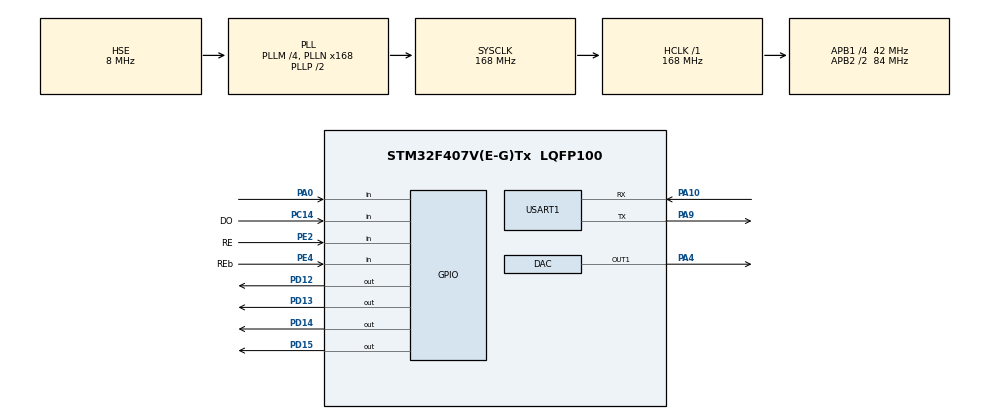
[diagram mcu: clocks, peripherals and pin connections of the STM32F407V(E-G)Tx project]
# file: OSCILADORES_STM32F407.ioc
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Mcu.Family=STM32F4
Mcu.Name=STM32F407V(E-G)Tx
Mcu.Package=LQFP100
NVIC.PriorityGroup=NVIC_PRIORITYGROUP_0
NVIC.TIM2_IRQn=true\:0\:0\:false\:false\:true\:true\:true
NVIC.USART1_IRQn=true\:0\:0\:false\:false\:true\:true\:true
PA0-WKUP.Signal=GPIO_Input
PA10.Mode=Asynchronous
PA10.Signal=USART1_RX
PA13.Mode=Serial_Wire
PA13.Signal=SYS_JTMS-SWDIO
PA14.Mode=Serial_Wire
PA14.Signal=SYS_JTCK-SWCLK
PA4.Signal=COMP_DAC1_group
PA9.Mode=Asynchronous
PA9.Signal=USART1_TX
PC14-OSC32_IN.GPIO_Label=DO
PC14-OSC32_IN.GPIO_PuPd=GPIO_PULLUP
PC14-OSC32_IN.Signal=GPIO_Input
PD12.Signal=GPIO_Output
PD13.Signal=GPIO_Output
PD14.Signal=GPIO_Output
PD15.Signal=GPIO_Output
PE2.GPIO_Label=RE
PE2.GPIO_PuPd=GPIO_PULLUP
PE2.Signal=GPIO_Input
PE4.GPIO_Label=REb
PE4.GPIO_PuPd=GPIO_PULLUP
PE4.Signal=GPIO_Input
PH0-OSC_IN.Mode=HSE-External-Oscillator
PH0-OSC_IN.Signal=RCC_OSC_IN
PH1-OSC_OUT.Mode=HSE-External-Oscillator
PH1-OSC_OUT.Signal=RCC_OSC_OUT
ProjectManager.HeapSize=0x200
ProjectManager.StackSize=0x400
ProjectManager.TargetToolchain=STM32CubeIDE
RCC.48MHZClocksFreq_Value=48000000
RCC.AHBFreq_Value=168000000
RCC.APB1CLKDivider=RCC_HCLK_DIV4
RCC.APB1Freq_Value=42000000
RCC.APB1TimFreq_Value=84000000
RCC.APB2CLKDivider=RCC_HCLK_DIV2
RCC.APB2Freq_Value=84000000
RCC.APB2TimFreq_Value=168000000
RCC.CortexFreq_Value=168000000
RCC.HCLKFreq_Value=168000000
RCC.HSE_VALUE=8000000
RCC.HSI_VALUE=16000000
RCC.LSE_VALUE=32768
RCC.PLLM=4
RCC.PLLN=168
RCC.PLLQ=7
RCC.PLLSourceVirtual=RCC_PLLSOURCE_HSE
RCC.SYSCLKFreq_VALUE=168000000
RCC.SYSCLKSource=RCC_SYSCLKSOURCE_PLLCLK
RCC.VCOOutputFreq_Value=336000000
SH.COMP_DAC1_group.0=DAC_OUT1,DAC_OUT1
TIM2.Period=16-1
TIM2.Prescaler=119-1
USART1.VirtualMode=VM_ASYNC
VP_TIM2_VS_ClockSourceINT.Mode=Internal
board=STM32F407G-DISC1

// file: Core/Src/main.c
/* USER CODE BEGIN Header */
/**
  ******************************************************************************
  * @file           : main.c
  * @brief          : Main program body
  ******************************************************************************
  * @attention
  *
  * <h2><center>&copy; Copyright (c) 2020 STMicroelectronics.
  * All rights reserved.</center></h2>
  *
  * This software component is licensed by ST under BSD 3-Clause license,
  * the "License"; You may not use this file except in compliance with the
  * License. You may obtain a copy of the License at:
  *                        opensource.org/licenses/BSD-3-Clause
  *
  ******************************************************************************
  */
/* USER CODE END Header */

#include "main.h"
#include "dac.h"
#include "tim.h"
#include "usart.h"
#include "gpio.h"

/* USER CODE BEGIN Includes */
#include "osc_dac_lfs.h"
/* USER CODE END Includes */

/* USER CODE BEGIN PD */
//#define NOTA_C1 24
/* USER CODE END PD */

/* USER CODE BEGIN PV */
//const unsigned long tabla_seno_vieja[] = {686,689,692,695,698,702,705,708,711,714,717,721,724,727,730,733,737,740,743,746,749,752,756,759,762,765,768,771,774,778,781,784,787,790,793,796,800,803,806,809,812,815,818,821,825,828,831,834,837,840,843,846,849,852,855,859,862,865,868,871,874,877,880,883,886,889,892,895,898,901,904,907,910,913,916,919,922,925,928,931,934,937,940,943,946,949,952,955,957,960,963,966,969,972,975,978,981,983,986,989,992,995,998,1000,1003,1006,1009,1012,1014,1017,1020,1023,1025,1028,1031,1034,1036,1039,1042,1045,1047,1050,1053,1055,1058,1061,1063,1066,1068,1071,1074,1076,1079,1081,1084,1087,1089,1092,1094,1097,1099,1102,1104,1107,1109,1112,1114,1117,1119,1122,1124,1126,1129,1131,1134,1136,1138,1141,1143,1145,1148,1150,1152,1155,1157,1159,1162,1164,1166,1168,1171,1173,1175,1177,1179,1182,1184,1186,1188,1190,1192,1194,1196,1199,1201,1203,1205,1207,1209,1211,1213,1215,1217,1219,1221,1223,1225,1227,1228,1230,1232,1234,1236,1238,1240,1242,1243,1245,1247,1249,1251,1252,1254,1256,1257,1259,1261,1263,1264,1266,1268,1269,1271,1272,1274,1276,1277,1279,1280,1282,1283,
//									1285,1286,1288,1289,1291,1292,1293,1295,1296,1298,1299,1300,1302,1303,1304,1306,1307,1308,1310,1311,1312,1313,1314,1316,1317,1318,1319,1320,1321,1323,1324,1325,1326,1327,1328,1329,1330,1331,1332,1333,1334,1335,1336,1337,1338,1338,1339,1340,1341,1342,1343,1343,1344,1345,1346,1346,1347,1348,1349,1349,1350,1351,1351,1352,1353,1353,1354,1354,1355,1355,1356,1356,1357,1357,1358,1358,1359,1359,1360,1360,1360,1361,1361,1361,1362,1362,1362,1363,1363,1363,1363,1364,1364,1364,1364,1364,1364,1365,1365,1365,1365,1365,1365,1365,1365,1365,1365,1365,1365,1365,1365,1365,1365,1365,1364,1364,1364,1364,1364,1364,1363,1363,1363,1363,1362,1362,1362,1361,1361,1361,1360,1360,1360,1359,1359,1358,1358,1357,1357,1357,1356,1355,1355,1354,1354,1353,1353,1352,1351,1351,1350,1349,1349,1348,1347,1347,1346,1345,1344,1344,1343,1342,1341,1340,1339,1339,1338,1337,1336,1335,1334,1333,1332,1331,1330,1329,1328,1327,1326,1325,1324,1323,1322,1321,1319,1318,1317,1316,1315,1314,1312,1311,1310,1309,1307,1306,1305,1303,1302,1301,1299,1298,1297,1295,1294,1292,1291,1290,1288,1287,1285,1284,1282,
//									1281,1279,1277,1276,1274,1273,1271,1270,1268,1266,1265,1263,1261,1260,1258,1256,1254,1253,1251,1249,1247,1246,1244,1242,1240,1238,1236,1235,1233,1231,1229,1227,1225,1223,1221,1219,1217,1215,1213,1211,1209,1207,1205,1203,1201,1199,1197,1195,1193,1191,1189,1186,1184,1182,1180,1178,1176,1173,1171,1169,1167,1164,1162,1160,1158,1155,1153,1151,1148,1146,1144,1141,1139,1137,1134,1132,1129,1127,1125,1122,1120,1117,1115,1112,1110,1107,1105,1102,1100,1097,1095,1092,1090,1087,1085,1082,1080,1077,1074,1072,1069,1066,1064,1061,1059,1056,1053,1051,1048,1045,1043,1040,1037,1034,1032,1029,1026,1023,1021,1018,1015,1012,1010,1007,1004,1001,998,995,993,990,987,984,981,978,976,973,970,967,964,961,958,955,952,949,947,944,941,938,935,932,929,926,923,920,917,914,911,908,905,902,899,896,893,890,887,884,881,878,875,872,869,865,862,859,856,853,850,847,844,841,838,835,832,828,825,822,819,816,813,810,807,803,800,797,794,791,788,785,782,778,775,772,769,766,763,759,756,753,750,747,744,740,737,734,731,728,725,721,718,715,712,709,706,702,699,696,693,690,686,683,680,677,674,671,667,
//									664,661,658,655,652,648,645,642,639,636,632,629,626,623,620,617,613,610,607,604,601,598,594,591,588,585,582,579,576,572,569,566,563,560,557,554,551,547,544,541,538,535,532,529,526,523,520,516,513,510,507,504,501,498,495,492,489,486,483,480,477,474,471,468,465,462,459,456,453,450,447,444,441,438,435,432,429,426,423,420,417,414,411,408,405,402,400,397,394,391,388,385,382,379,377,374,371,368,365,362,360,357,354,351,349,346,343,340,337,335,332,329,327,324,321,318,316,313,310,308,305,302,300,297,295,292,289,287,284,282,279,276,274,271,269,266,264,261,259,256,254,251,249,246,244,242,239,237,234,232,230,227,225,222,220,218,215,213,211,209,206,204,202,199,197,195,193,191,188,186,184,182,180,178,175,173,171,169,167,165,163,161,159,157,155,153,151,149,147,145,143,141,139,137,135,133,131,129,128,126,124,122,120,118,117,115,113,111,110,108,106,105,103,101,100,98,96,95,93,91,90,88,87,85,84,82,81,79,78,76,75,73,72,70,69,68,66,65,64,62,61,60,58,57,56,55,53,52,51,50,48,47,46,45,44,43,42,41,39,38,37,36,35,34,33,32,31,30,30,29,28,27,26,25,24,23,23,22,21,
//									20,19,19,18,17,17,16,15,15,14,13,13,12,11,11,10,10,9,9,8,8,7,7,6,6,6,5,5,4,4,4,3,3,3,2,2,2,2,2,1,1,1,1,1,1,0,0,0,0,0,0,0,0,0,0,0,0,0,0,0,0,1,1,1,1,1,1,2,2,2,2,3,3,3,3,4,4,4,5,5,6,6,6,7,7,8,8,9,9,10,10,11,12,12,13,13,14,15,15,16,17,17,18,19,20,20,21,22,23,24,24,25,26,27,28,29,30,31,32,33,34,35,36,37,38,39,40,41,42,43,44,45,46,48,49,50,51,52,54,55,56,57,59,60,61,63,64,65,67,68,69,71,72,74,75,77,78,80,81,83,84,86,87,89,90,92,93,95,97,98,100,102,103,105,107,108,110,112,114,115,117,119,121,123,124,126,128,130,132,134,136,137,139,141,143,145,147,149,151,153,155,157,159,161,163,165,168,170,172,174,176,178,180,182,185,187,189,191,193,196,198,200,202,205,207,209,211,214,216,218,221,223,225,228,230,233,235,237,240,242,245,247,250,252,254,257,259,262,264,267,269,272,275,277,280,282,285,287,290,293,295,298,300,303,306,308,311,314,316,319,322,325,327,330,333,335,338,341,344,346,349,352,355,358,360,363,366,369,372,374,377,380,383,386,389,392,394,397,400,403,406,409,412,415,418,421,424,427,430,432,435,438,441,444,447,450,453,456,459,462,465,468,471,474,477,480,484,
//									487,490,493,496,499,502,505,508,511,514,517,520,523,526,530,533,536,539,542,545,548,551,554,558,561,564,567,570,573,576,580,583,586,589,592,595,598,602,605,608,611,614,617,621,624,627,630,633,636,640,643,646,649,652,655,659,662,665,668,671,675,678,681,};
//
//const unsigned long tabla_cuadrada_vieja[] = {1365,1365,1365,1365,1365,1365,1365,1365,1365,1365,1365,1365,1365,1365,1365,1365,1365,1365,1365,1365,1365,1365,1365,1365,1365,1365,1365,1365,1365,1365,1365,1365,1365,1365,1365,1365,1365,1365,1365,1365,1365,1365,1365,1365,1365,1365,1365,1365,1365,1365,1365,1365,1365,1365,1365,1365,1365,1365,1365,1365,1365,1365,1365,1365,1365,1365,1365,1365,1365,1365,1365,1365,1365,1365,1365,1365,1365,1365,1365,1365,1365,1365,1365,1365,1365,1365,1365,1365,1365,1365,1365,1365,1365,1365,1365,1365,1365,1365,1365,1365,1365,1365,1365,1365,1365,1365,1365,1365,1365,1365,1365,1365,1365,1365,1365,1365,1365,1365,1365,1365,1365,1365,1365,1365,1365,1365,1365,1365,1365,1365,1365,1365,1365,1365,1365,1365,1365,1365,1365,1365,1365,1365,1365,1365,1365,1365,1365,1365,1365,1365,1365,1365,1365,1365,1365,1365,1365,1365,1365,1365,1365,1365,1365,1365,1365,1365,1365,1365,1365,1365,1365,1365,1365,1365,1365,1365,1365,1365,1365,1365,1365,1365,1365,1365,1365,1365,1365,1365,1365,1365,1365,1365,1365,1365,1365,1365,1365,1365,1365,1365,1365,1365,1365,1365,1365,1365,1365,1365,1365,1365,1365,1365,1365,
//										1365,1365,1365,1365,1365,1365,1365,1365,1365,1365,1365,1365,1365,1365,1365,1365,1365,1365,1365,1365,1365,1365,1365,1365,1365,1365,1365,1365,1365,1365,1365,1365,1365,1365,1365,1365,1365,1365,1365,1365,1365,1365,1365,1365,1365,1365,1365,1365,1365,1365,1365,1365,1365,1365,1365,1365,1365,1365,1365,1365,1365,1365,1365,1365,1365,1365,1365,1365,1365,1365,1365,1365,1365,1365,1365,1365,1365,1365,1365,1365,1365,1365,1365,1365,1365,1365,1365,1365,1365,1365,1365,1365,1365,1365,1365,1365,1365,1365,1365,1365,1365,1365,1365,1365,1365,1365,1365,1365,1365,1365,1365,1365,1365,1365,1365,1365,1365,1365,1365,1365,1365,1365,1365,1365,1365,1365,1365,1365,1365,1365,1365,1365,1365,1365,1365,
//										1365,1365,1365,1365,1365,1365,1365,1365,1365,1365,1365,1365,1365,1365,1365,1365,1365,1365,1365,1365,1365,1365,1365,1365,1365,1365,1365,1365,1365,1365,1365,1365,1365,1365,1365,1365,1365,1365,1365,1365,1365,1365,1365,1365,1365,1365,1365,1365,1365,1365,1365,1365,1365,1365,1365,1365,1365,1365,1365,1365,1365,1365,1365,1365,1365,1365,1365,1365,1365,1365,1365,1365,1365,1365,1365,1365,1365,1365,1365,1365,1365,1365,1365,1365,1365,1365,1365,1365,1365,1365,1365,1365,1365,1365,1365,1365,1365,1365,1365,1365,1365,1365,1365,1365,1365,1365,1365,1365,1365,1365,1365,1365,1365,1365,1365,1365,1365,1365,1365,1365,1365,1365,1365,1365,1365,1365,1365,1365,1365,1365,1365,1365,1365,1365,1365,1365,1365,1365,1365,1365,1365,1365,1365,1365,1365,1365,1365,1365,1365,1365,1365,1365,1365,1365,1365,1365,1365,1365,1365,1365,1365,1365,1365,1365,1365,1365,1365,1365,1365,1365,1365,1365,1365,1365,1365,1365,1365,1365,1365,1365,1365,1365,1365,1365,1365,1365,1365,1365,1365,1365,1365,1365,1365,1365,1365,1365,1365,1365,1365,1365,1365,1365,1365,1365,1365,1365,1365,1365,1365,1365,1365,1365,
//										1365,1365,1365,1365,1365,1365,1365,1365,1365,1365,1365,1365,1365,1365,1365,1365,1365,1365,1365,1365,1365,1365,1365,1365,1365,1365,1365,1365,1365,1365,1365,1365,1365,1365,1365,1365,1365,1365,1365,1365,1365,1365,1365,1365,1365,1365,1365,1365,1365,1365,1365,1365,1365,1365,1365,1365,1365,1365,1365,1365,1365,1365,1365,1365,1365,1365,1365,1365,1365,1365,1365,1365,1365,1365,1365,1365,1365,1365,1365,1365,1365,1365,1365,1365,1365,1365,1365,1365,1365,1365,1365,1365,1365,1365,1365,1365,1365,1365,1365,1365,1365,1365,1365,1365,1365,1365,1365,1365,1365,1365,1365,1365,1365,1365,0,0,0,0,0,0,0,0,0,0,0,0,0,0,0,0,0,0,0,0,0,0,0,0,0,0,0,0,0,0,0,0,0,0,0,0,0,0,0,0,0,0,0,0,0,0,0,0,0,0,0,0,0,0,0,0,0,0,0,0,0,0,0,0,0,0,0,0,0,0,0,0,0,0,0,0,0,0,0,0,0,0,0,0,0,0,0,0,0,0,0,0,0,0,0,0,0,0,0,0,0,0,0,0,0,0,0,0,0,0,0,0,0,0,0,0,0,0,0,0,0,0,0,0,0,0,0,0,0,0,0,0,0,0,0,0,0,0,0,0,0,0,0,0,0,0,0,0,0,0,0,0,0,0,0,0,0,0,0,0,0,0,0,0,0,0,0,0,0,0,0,0,0,0,0,0,0,0,0,0,0,0,0,0,0,0,0,0,0,0,0,0,0,0,0,0,0,0,0,0,0,0,0,0,0,0,0,0,0,0,0,0,0,0,0,0,0,0,0,0,0,0,0,0,0,0,0,0,0,0,0,0,0,0,0,0,0,0,0,0,0,0,0,0,0,
//										0,0,0,0,0,0,0,0,0,0,0,0,0,0,0,0,0,0,0,0,0,0,0,0,0,0,0,0,0,0,0,0,0,0,0,0,0,0,0,0,0,0,0,0,0,0,0,0,0,0,0,0,0,0,0,0,0,0,0,0,0,0,0,0,0,0,0,0,0,0,0,0,0,0,0,0,0,0,0,0,0,0,0,0,0,0,0,0,0,0,0,0,0,0,0,0,0,0,0,0,0,0,0,0,0,0,0,0,0,0,0,0,0,0,0,0,0,0,0,0,0,0,0,0,0,0,0,0,0,0,0,0,0,0,0,0,0,0,0,0,0,0,0,0,0,0,0,0,0,0,0,0,0,0,0,0,0,0,0,0,0,0,0,0,0,0,0,0,0,0,0,0,0,0,0,0,0,0,0,0,0,0,0,0,0,0,0,0,0,0,0,0,0,0,0,0,0,0,0,0,0,0,0,0,0,0,0,0,0,0,0,0,0,0,0,0,0,0,0,0,0,0,0,0,0,0,0,0,0,0,0,0,0,0,0,0,0,0,0,0,0,0,0,0,0,0,0,0,0,0,0,0,0,0,0,0,0,0,0,0,0,0,0,0,0,0,0,0,0,0,0,0,0,0,0,0,0,0,0,0,0,0,0,0,0,0,0,0,0,0,0,0,0,0,0,0,0,0,0,0,0,0,0,0,0,0,0,0,0,0,0,0,0,0,0,0,0,0,0,0,0,0,0,0,0,0,0,0,0,0,0,0,0,0,0,0,0,0,0,0,0,0,0,0,0,0,0,0,0,0,0,0,0,0,0,0,0,0,0,0,0,0,0,0,0,0,0,0,0,0,0,0,0,0,0,0,0,0,0,0,0,0,0,0,0,0,0,0,0,0,0,0,0,0,0,0,0,0,0,0,0,0,0,0,0,0,0,0,0,0,0,0,0,0,0,0,0,0,0,0,0,0,0,0,0,0,0,0,0,};
//
//const unsigned long tabla_sierra_vieja[] = {0,1,2,3,4,5,6,7,8,9,10,11,12,13,14,15,16,17,18,19,20,21,22,23,24,25,26,27,28,29,30,31,32,33,34,35,36,37,39,40,41,42,43,44,45,46,47,48,49,50,51,52,53,54,55,56,57,58,59,60,61,62,63,64,65,66,67,68,69,70,71,72,73,74,75,76,77,78,79,80,81,82,83,84,85,86,87,88,89,90,91,92,93,94,95,96,97,98,99,100,101,102,103,104,105,106,107,108,109,110,111,112,113,115,116,117,118,119,120,121,122,123,124,125,126,127,128,129,130,131,132,133,134,135,136,137,138,139,140,141,142,143,144,145,146,147,148,149,150,151,152,153,154,155,156,157,158,159,160,161,162,163,164,165,166,167,168,169,170,171,172,173,174,175,176,177,178,179,180,181,182,183,184,185,186,187,188,189,191,192,193,194,195,196,197,198,199,200,201,202,203,204,205,206,207,208,209,210,211,212,213,214,215,216,217,218,219,220,221,222,223,224,225,226,227,228,229,230,231,232,233,234,235,236,237,238,239,240,241,242,243,244,245,246,247,248,249,250,251,252,253,254,
//										255,256,257,258,259,260,261,262,263,264,266,267,268,269,270,271,272,273,274,275,276,277,278,279,280,281,282,283,284,285,286,287,288,289,290,291,292,293,294,295,296,297,298,299,300,301,302,303,304,305,306,307,308,309,310,311,312,313,314,315,316,317,318,319,320,321,322,323,324,325,326,327,328,329,330,331,332,333,334,335,336,337,338,339,340,342,343,344,345,346,347,348,349,350,351,352,353,354,355,356,357,358,359,360,361,362,363,364,365,366,367,368,369,370,371,372,373,374,375,376,377,378,379,380,381,382,383,384,385,386,387,388,389,390,391,392,393,394,395,396,397,398,399,400,401,402,403,404,405,406,407,408,409,410,411,412,413,414,415,416,418,419,420,421,422,423,424,425,426,427,428,429,430,431,432,433,434,435,436,437,438,439,440,441,442,443,444,445,446,447,448,449,450,451,452,453,454,455,456,457,458,459,460,461,462,463,464,465,466,467,468,469,470,471,472,473,474,475,476,477,478,479,480,481,482,
//										483,484,485,486,487,488,489,490,491,492,494,495,496,497,498,499,500,501,502,503,504,505,506,507,508,509,510,511,512,513,514,515,516,517,518,519,520,521,522,523,524,525,526,527,528,529,530,531,532,533,534,535,536,537,538,539,540,541,542,543,544,545,546,547,548,549,550,551,552,553,554,555,556,557,558,559,560,561,562,563,564,565,566,567,568,570,571,572,573,574,575,576,577,
//										578,579,580,581,582,583,584,585,586,587,588,589,590,591,592,593,594,595,596,597,598,599,600,601,602,603,604,605,606,607,608,609,610,611,612,613,614,615,616,617,618,619,620,621,622,623,624,625,626,627,628,629,630,631,632,633,634,635,636,637,638,639,640,641,642,643,644,646,647,648,649,650,651,652,653,654,655,656,657,658,659,660,661,662,663,664,665,666,667,668,669,670,671,672,673,674,675,676,677,678,679,680,681,682,683,684,685,686,687,688,689,690,691,692,693,694,695,696,697,698,699,700,701,702,703,704,705,706,707,708,709,710,711,712,713,714,715,716,717,718,719,721,722,723,724,725,726,727,728,729,730,731,732,733,734,735,736,737,738,739,740,741,742,743,744,745,746,747,748,749,750,751,752,753,754,755,756,757,758,759,760,761,762,763,764,765,766,767,768,769,770,771,772,773,774,775,776,777,778,779,780,781,782,783,784,785,786,787,788,789,790,791,792,793,794,795,797,798,799,800,801,802,803,804,805,
//										806,807,808,809,810,811,812,813,814,815,816,817,818,819,820,821,822,823,824,825,826,827,828,829,830,831,832,833,834,835,836,837,838,839,840,841,842,843,844,845,846,847,848,849,850,851,852,853,854,855,856,857,858,859,860,861,862,863,864,865,866,867,868,869,870,871,873,874,875,876,877,878,879,880,881,882,883,884,885,886,887,888,889,890,891,892,893,894,895,896,897,898,899,900,901,902,903,904,905,906,907,908,909,910,911,912,913,914,915,916,917,918,919,920,921,922,923,924,925,926,927,928,929,930,931,932,933,934,935,936,937,938,939,940,941,942,943,944,945,946,947,949,950,951,952,953,954,955,956,957,958,959,960,961,962,963,964,965,966,967,968,969,970,971,972,973,974,975,976,977,978,979,980,981,982,983,984,985,986,987,988,989,990,991,992,993,994,995,996,997,998,999,1000,1001,1002,1003,1004,1005,1006,1007,1008,1009,1010,1011,1012,1013,1014,1015,1016,1017,1018,1019,1020,1021,1022,1023,1025,1026,1027,
//										1028,1029,1030,1031,1032,1033,1034,1035,1036,1037,1038,1039,1040,1041,1042,1043,1044,1045,1046,1047,1048,1049,1050,1051,1052,1053,1054,1055,1056,1057,1058,1059,1060,1061,1062,1063,1064,1065,1066,1067,1068,1069,1070,1071,1072,1073,1074,1075,1076,1077,1078,1079,1080,1081,1082,1083,1084,1085,1086,1087,1088,1089,1090,1091,1092,1093,1094,1095,1096,1097,1098,1099,1101,1102,1103,1104,1105,1106,1107,1108,1109,1110,1111,1112,1113,1114,1115,1116,1117,1118,1119,1120,1121,1122,1123,1124,1125,1126,1127,1128,1129,1130,1131,1132,1133,1134,1135,1136,1137,1138,1139,1140,1141,1142,1143,1144,1145,1146,1147,1148,1149,1150,1151,1152,1153,1154,1155,1156,1157,1158,1159,1160,1161,1162,1163,1164,1165,1166,1167,1168,1169,1170,1171,1172,1173,1174,1176,1177,1178,1179,1180,1181,1182,1183,1184,1185,1186,1187,1188,1189,1190,1191,1192,1193,1194,1195,1196,1197,1198,1199,1200,1201,1202,1203,1204,1205,1206,1207,1208,1209,1210,
//										1211,1212,1213,1214,1215,1216,1217,1218,1219,1220,1221,1222,1223,1224,1225,1226,1227,1228,1229,1230,1231,1232,1233,1234,1235,1236,1237,1238,1239,1240,1241,1242,1243,1244,1245,1246,1247,1248,1249,1250,1252,1253,1254,1255,1256,1257,1258,1259,1260,1261,1262,1263,1264,1265,1266,1267,1268,1269,1270,1271,1272,1273,1274,1275,1276,1277,1278,1279,1280,1281,1282,1283,1284,1285,1286,1287,1288,1289,1290,1291,1292,1293,1294,1295,1296,1297,1298,1299,1300,1301,1302,1303,1304,1305,1306,1307,1308,1309,1310,1311,1312,1313,1314,1315,1316,1317,1318,1319,1320,1321,1322,1323,1324,1325,1326,1328,1329,1330,1331,1332,1333,1334,1335,1336,1337,1338,1339,1340,1341,1342,1343,1344,1345,1346,1347,1348,1349,1350,1351,1352,1353,1354,1355,1356,1357,1358,1359,1360,1361,1362,1363,1364,1365,};

//uint16_t phase = 0;
uint8_t flag_dac = 0;

uint8_t read_tecla[3] = {0, 0, 0};
uint8_t last_tecla[3] = {0, 0, 0};

uint8_t testNota[3] = {NOTA_C1, 36, 60};
/* USER CODE END PV */

void SystemClock_Config(void);

int main(void)
{

  /* MCU Configuration--------------------------------------------------------*/

  /* Reset of all peripherals, Initializes the Flash interface and the Systick. */
  HAL_Init();

  /* Configure the system clock */
  SystemClock_Config();

  /* Initialize all configured peripherals */
  MX_GPIO_Init();
  MX_DAC_Init();
  MX_TIM2_Init();
  MX_USART1_UART_Init();
  /* USER CODE BEGIN 2 */
  HAL_TIM_Base_Start_IT(&htim2);
  //HAL_DAC_Start(&hdac, DAC_CHANNEL_1);
  osc_dac_init(&hdac, DAC_CHANNEL_1);
  osc_setRatios(100, 100, 100);

  /* USER CODE END 2 */

  /* Infinite loop */
  /* USER CODE BEGIN WHILE */
  while (1)
  {

	  read_tecla[0] = HAL_GPIO_ReadPin(DO_GPIO_Port, DO_Pin);
	  read_tecla[1] = HAL_GPIO_ReadPin(REb_GPIO_Port, REb_Pin);
	  read_tecla[2] = HAL_GPIO_ReadPin(RE_GPIO_Port, RE_Pin);

	  for (uint8_t i = 0; i < 3; i++){
		  if (!read_tecla[i] && last_tecla[i]){
			  osc_setNote(NOTA_C1 + i);
//			  osc_setNote(testNota[i]);
		  }else if(read_tecla[i] && !last_tecla[i]){
			  osc_setNote(0);
		  }
		  last_tecla[i]= read_tecla[i];
	  }//end for

	  if (flag_dac != 0){
		  osc_dac_update();
		  flag_dac = 0;
	  }
    /* USER CODE END WHILE */

  }
}

void SystemClock_Config(void)
{
  RCC_OscInitTypeDef RCC_OscInitStruct = {0};
  RCC_ClkInitTypeDef RCC_ClkInitStruct = {0};

  /** Configure the main internal regulator output voltage
  */
  __HAL_RCC_PWR_CLK_ENABLE();
  __HAL_PWR_VOLTAGESCALING_CONFIG(PWR_REGULATOR_VOLTAGE_SCALE1);
  /** Initializes the CPU, AHB and APB busses clocks
  */
  RCC_OscInitStruct.OscillatorType = RCC_OSCILLATORTYPE_HSE;
  RCC_OscInitStruct.HSEState = RCC_HSE_ON;
  RCC_OscInitStruct.PLL.PLLState = RCC_PLL_ON;
  RCC_OscInitStruct.PLL.PLLSource = RCC_PLLSOURCE_HSE;
  RCC_OscInitStruct.PLL.PLLM = 4;
  RCC_OscInitStruct.PLL.PLLN = 168;
  RCC_OscInitStruct.PLL.PLLP = RCC_PLLP_DIV2;
  RCC_OscInitStruct.PLL.PLLQ = 7;
  if (HAL_RCC_OscConfig(&RCC_OscInitStruct) != HAL_OK)
  {
    Error_Handler();
  }
  /** Initializes the CPU, AHB and APB busses clocks
  */
  RCC_ClkInitStruct.ClockType = RCC_CLOCKTYPE_HCLK|RCC_CLOCKTYPE_SYSCLK
                              |RCC_CLOCKTYPE_PCLK1|RCC_CLOCKTYPE_PCLK2;
  RCC_ClkInitStruct.SYSCLKSource = RCC_SYSCLKSOURCE_PLLCLK;
  RCC_ClkInitStruct.AHBCLKDivider = RCC_SYSCLK_DIV1;
  RCC_ClkInitStruct.APB1CLKDivider = RCC_HCLK_DIV4;
  RCC_ClkInitStruct.APB2CLKDivider = RCC_HCLK_DIV2;

  if (HAL_RCC_ClockConfig(&RCC_ClkInitStruct, FLASH_LATENCY_5) != HAL_OK)
  {
    Error_Handler();
  }
}

/* USER CODE BEGIN 4 */
void HAL_TIM_PeriodElapsedCallback(TIM_HandleTypeDef *htim){
	if (htim->Instance == TIM2){
		flag_dac = 1;
	}
}
/* USER CODE END 4 */

void Error_Handler(void)
{
}

/************************ (C) COPYRIGHT STMicroelectronics *****END OF FILE****/
